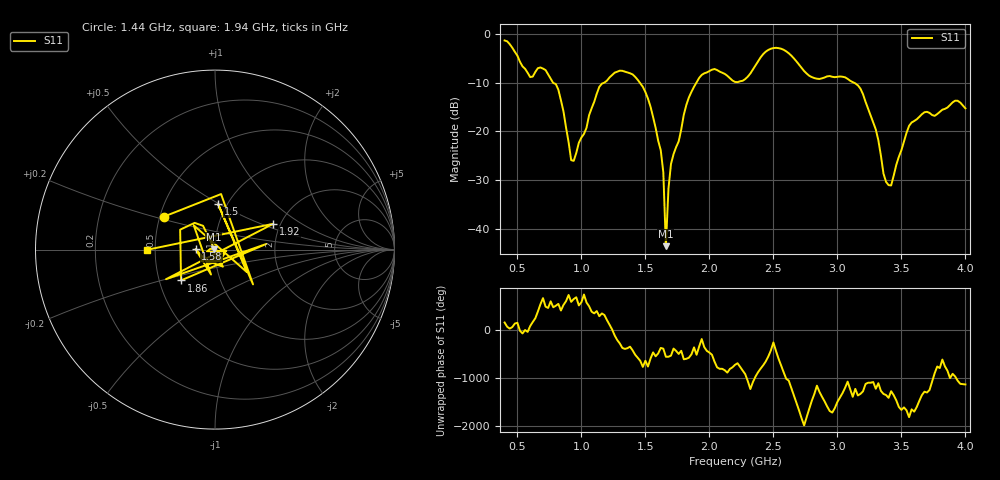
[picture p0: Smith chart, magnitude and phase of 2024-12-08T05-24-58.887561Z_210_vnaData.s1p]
!Created with skrf (http://scikit-rf.org).
# Hz S RI R 50.0
!freq ReS11 ImS11
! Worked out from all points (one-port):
!   181 points, 400 MHz to 4 GHz, reference 50 ohm
!   lowest |S11| = -43.6 dB at 1.66 GHz (marker M1), VSWR 1.01, Z = 49.4 + j0.117 ohm
!   |S11| at or under -10 dB: 778.7 MHz to 1.178 GHz (399.3 MHz wide, 40.8 % of centre); 1.456 GHz to 1.898 GHz (442.1 MHz wide, 26.4 % of centre); 3.13 GHz to end of sweep
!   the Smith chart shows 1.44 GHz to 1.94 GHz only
!   S11 on the Smith chart (normalised r, x): 1.44 GHz: 0.53, +0.22; 1.5 GHz: 0.91, +0.49; 1.58 GHz: 0.80, +0.00; 1.86 GHz: 0.65, -0.24; 1.92 GHz: 1.83, +0.60; 1.94 GHz: 0.45, -0.00
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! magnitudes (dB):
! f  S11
! 400 MHz  -1.3
! 600 MHz  -8.8
! 720 MHz  -7.4
! 860 MHz  -15.9
! 920 MHz  -25.9
! 940 MHz  -26.0
! 1.14 GHz  -10.8
! 1.3 GHz  -7.5
! 1.44 GHz  -9.4
! 1.5 GHz  -11.9
! 1.58 GHz  -19.3
! 1.64 GHz  -28.4
! 1.66 GHz  -43.6
! 1.68 GHz  -31.8
! 1.7 GHz  -26.7
! 1.76 GHz  -22.1
! 1.86 GHz  -11.9
! 1.92 GHz  -9.0
! 1.94 GHz  -8.4
! 2.2 GHz  -9.8
! 2.48 GHz  -3.0
! 2.66 GHz  -5.0
! 2.8 GHz  -8.8
! 3.1 GHz  -9.6
! 3.2 GHz  -12.3
! 3.4 GHz  -31.0
! 3.56 GHz  -18.9
! 4 GHz  -15.3
